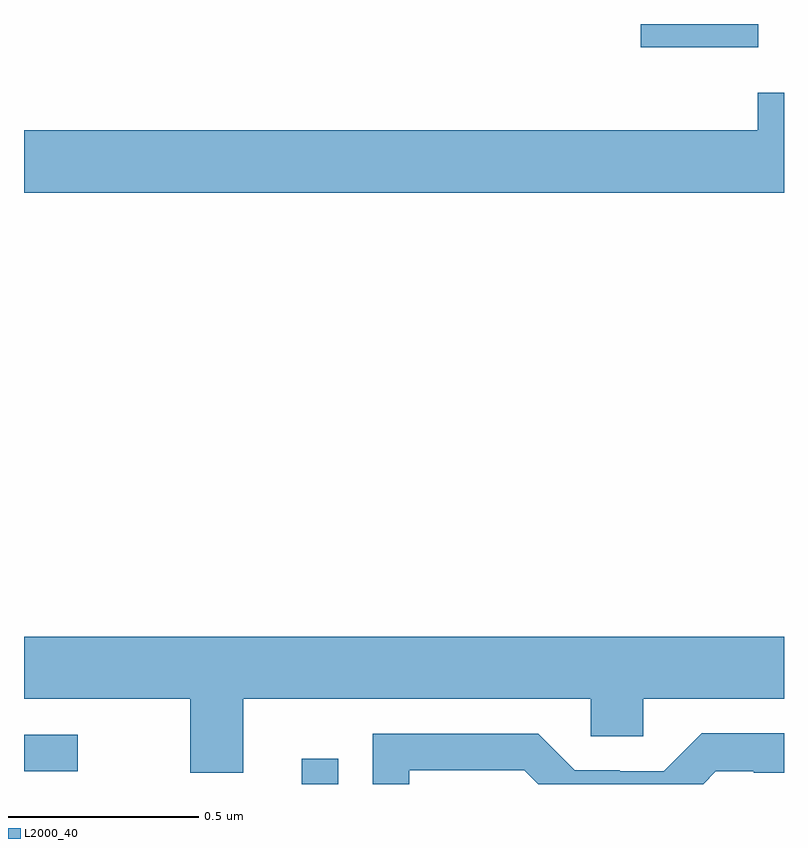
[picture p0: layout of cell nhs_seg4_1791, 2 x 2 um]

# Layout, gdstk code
import gdstk
lib = gdstk.Library(unit=1e-6, precision=1e-09)
def R(c, l, rs):  # rectangles x0, y0, x1, y1
    for r in rs: c.add(gdstk.rectangle(r[:2], r[2:], *l))
def P(c, l, *ps):  # polygons
    for p in ps: c.add(gdstk.Polygon(p, *l))
L2000_40 = (2000, 40)

nhs_seg4_1791 = lib.new_cell('nhs_seg4_1791')
R(nhs_seg4_1791, L2000_40, [(132.731,825.9,132.827,825.967), (132,825.933,132.142,826.029), (133.623,827.839,133.932,827.9)])
P(nhs_seg4_1791, L2000_40, [(134,827.719),(133.931,827.719),(133.931,827.62),(132,827.62),(132,827.456),(134,827.456)],
  [(132.577,826.124),(133.491,826.124),(133.491,826.026),(133.629,826.026),(133.629,826.124),(134,826.124),(134,826.288),(132,826.288),(132,826.124),(132.437,826.124),(132.437,825.93),(132.577,825.93)],
  [(133.014,825.936),(133.317,825.936),(133.353,825.9),(133.788,825.9),(133.821,825.933),(133.921,825.933),(133.921,825.929),(134,825.929),(134,826.033),(133.783,826.033),(133.683,825.933),(133.568,825.933),(133.568,825.936),(133.449,825.936),(133.353,826.032),(132.918,826.032),(132.918,825.9),(133.014,825.9)])

lib.write_gds('nhs_seg4_1791.gds')
